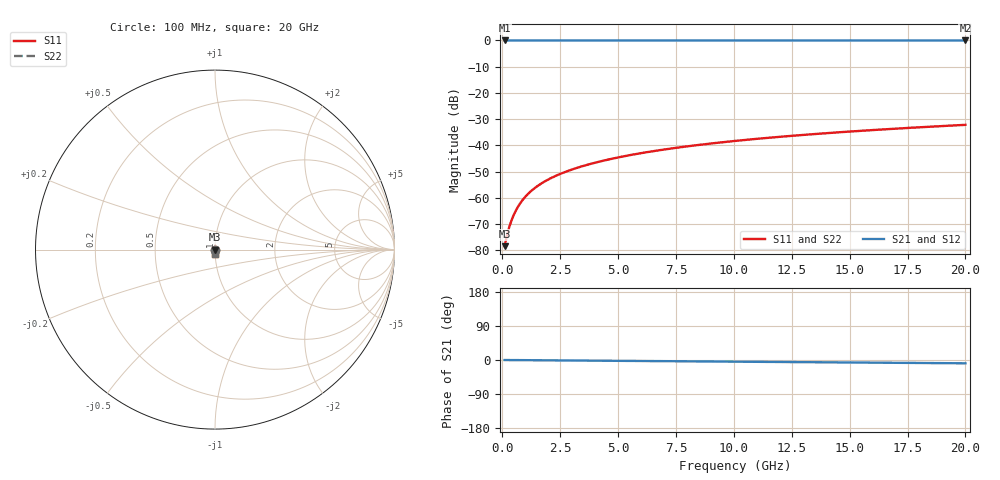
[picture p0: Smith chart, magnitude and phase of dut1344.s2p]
! Touchstone file exported from HFSS 2026.1.0
!  File:  C:/ffzhzh/LocalFiles/Ansys_Project_Files/temp_train_TSV_1344_1783195669_18472.aedt
!  Generated:  04:09:08 AM Jul  5, 2026
!  Design:  TSV
!  Project:  temp_train_TSV_1344_1783195669_18472
! Variables:
!  h_bsmrdl = 2um
!  h_ox = 20um
!  h_rdl = 5um
!  h_sub = 88um
!  h_tmrdl = 5um
!  h_tsv = 88um
!  h_via = 3um
!  l_bsmrdl = 300um
!  l_sub = 426.66um
!  l_tmrdl = 200um
!  m_sub = 200um
!  pitch = 45.75um
!  r_tsv = 13.33um
!  s_tmrdl = 10um
!  w_bsmrdl = 18um
!  w_sub = 500um
!  w_tmrdl = 12um
!  x_tsv_center1 = 206um
!  x_tsv_center2 = 524um
!  x_tsv_center3 = 736um
!  x_tsv_center4 = 1054um
!  x_tsv_center5 = 1266um
!  x_tsv_center6 = 1584um
# GHz S MA R 50.000000
! Terminal data exported
! Port[1] = TSV1_1_T1
! Port[2] = TSV1_1_T2
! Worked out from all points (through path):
!   200 points, 100 MHz to 20 GHz, reference 50 ohm
!   highest |S21| = 0.00 dB at 100 MHz (marker M1); lowest = 0.0 dB at 20 GHz (marker M2)
!   group delay of S21, straight-line fit = 1.21 ps
!   lowest |S11| = -78.5 dB at 100 MHz (marker M3), VSWR 1.00, Z = 50 - j0.00765 ohm
!   |S11| at or under -10 dB: start of sweep to end of sweep
!   |S22| runs from -78.5 to -32.2 dB; largest |S21 - S12| = 2.4e-15
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0.1  0.0001193 -39.8  0.9999 -0.0  0.9999 -0.0  0.0001193 -39.8
! Gamma 0 0 0 0
! Port Impedance 50 0 50 0
0.2  0.0001897 -55.8  0.9999 -0.1  0.9999 -0.1  0.0001897 -55.8
0.3  0.0002759 -62.3  0.9999 -0.1  0.9999 -0.1  0.0002759 -62.3
0.4  0.0003724 -65.7  0.9998 -0.2  0.9998 -0.2  0.0003724 -65.7
0.5  0.0004766 -68.0  0.9998 -0.2  0.9998 -0.2  0.0004766 -68.0
0.6  0.0005864 -69.7  0.9998 -0.3  0.9998 -0.3  0.0005864 -69.7
0.8  0.0008162 -72.5  0.9997 -0.4  0.9997 -0.4  0.0008162 -72.5
1.1  0.001172 -75.7  0.9997 -0.5  0.9997 -0.5  0.001172 -75.7
1.3  0.001411 -77.3  0.9997 -0.6  0.9997 -0.6  0.001411 -77.3
1.5  0.001651 -78.6  0.9997 -0.7  0.9997 -0.7  0.001651 -78.6
1.8  0.00201 -80.2  0.9996 -0.8  0.9996 -0.8  0.00201 -80.2
2.1  0.002368 -81.4  0.9996 -0.9  0.9996 -0.9  0.002368 -81.4
2.7  0.003087 -83.1  0.9996 -1.2  0.9996 -1.2  0.003087 -83.1
3.5  0.004049 -84.6  0.9995 -1.5  0.9995 -1.5  0.004049 -84.6
4.2  0.004897 -85.6  0.9995 -1.8  0.9995 -1.8  0.004897 -85.6
5  0.005873 -86.5  0.9994 -2.2  0.9994 -2.2  0.005873 -86.5
6.8  0.008088 -88.1  0.9993 -3.0  0.9993 -3.0  0.008088 -88.1
8.3  0.009948 -89.2  0.9992 -3.6  0.9992 -3.6  0.009948 -89.2
10.1  0.01219 -90.5  0.9991 -4.4  0.9991 -4.4  0.01219 -90.5
13.4  0.0163 -92.5  0.9989 -5.9  0.9989 -5.9  0.0163 -92.5
16.7  0.02043 -94.3  0.9987 -7.3  0.9987 -7.3  0.02043 -94.3
20  0.02457 -95.9  0.9985 -8.7  0.9985 -8.7  0.02457 -96.0
